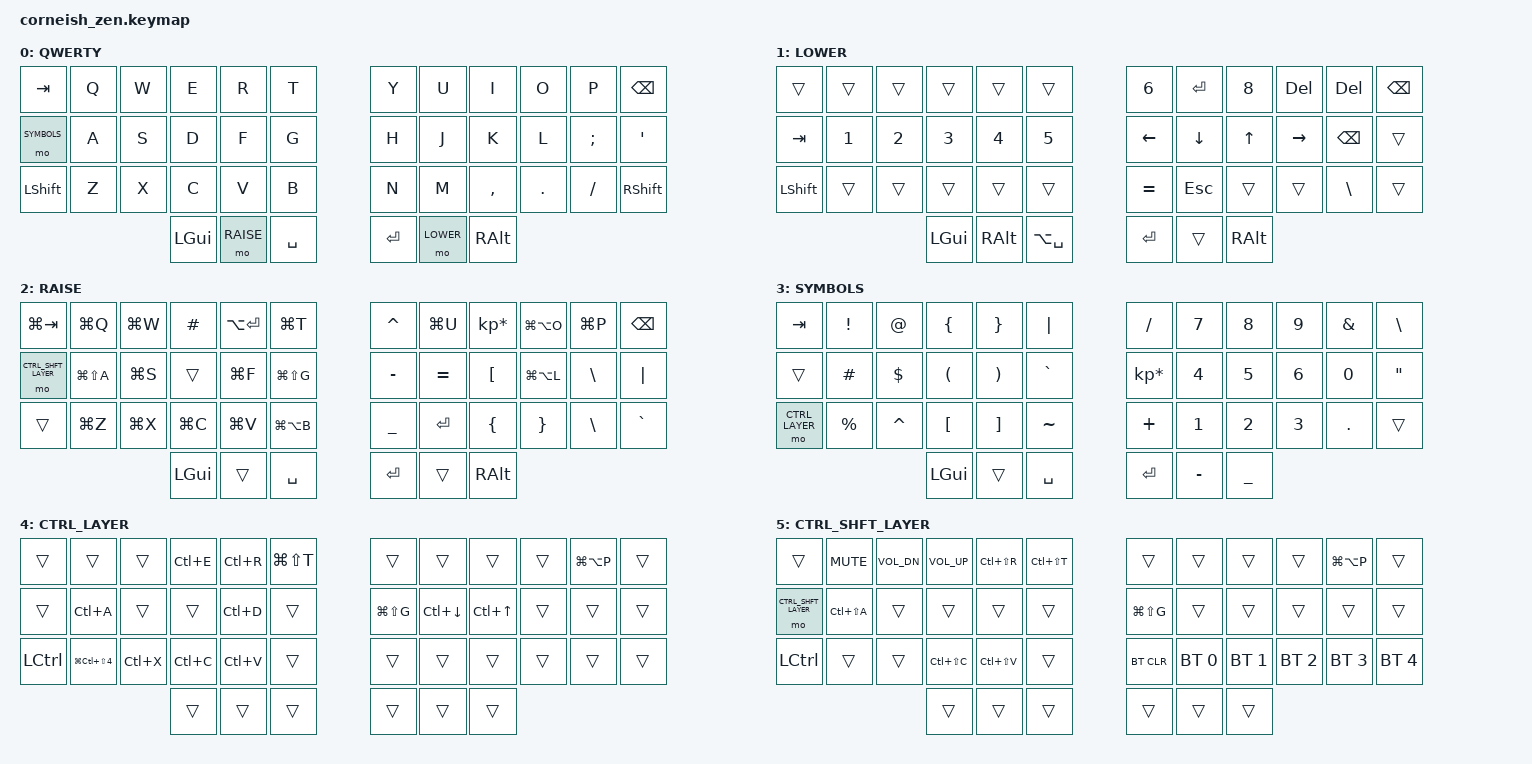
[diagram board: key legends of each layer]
#include <behaviors.dtsi>
#include <dt-bindings/zmk/keys.h>
#include <dt-bindings/zmk/bt.h>

/ {
  chosen {
    zmk,matrix_transform = &default_transform;
    //zmk,matrix_transform = &five_column_transform;
  };
};

#define BASE 0
#define LOWER 1
#define RAISE 2
#define SYMBOLS 3
#define CTRL_LAYER 4
#define CTRL_SHFT_LAYER 5

/ {
        keymap {
                compatible = "zmk,keymap";

                default_layer {
                        label = "QWERTY";
// -----------------------------------------------------------------------------------------
// |  TAB    |  Q  |  W  |  E  |  R  |  T  |   |  Y  |  U   |  I  |  O  |  P  | BKSP  |
// | SYMBOLS |  A  |  S  |  D  |  F  |  G  |   |  H  |  J   |  K  |  L  |  ;  |  '    |
// | SHFT    |  Z  |  X  |  C  |  V  |  B  |   |  N  |  M   |  ,  |  .  |  /  | RSHFT |
//                       | GUI | RSE | SPC |   | ENT | LWR  | ALT |
                        bindings = <
   &kp TAB     &kp Q &kp W &kp E &kp R &kp T   &kp Y &kp U  &kp I     &kp O   &kp P    &kp BSPC
   &mo SYMBOLS &kp A &kp S &kp D &kp F &kp G   &kp H &kp J  &kp K     &kp L   &kp SEMI &kp SQT
   &kp LSHFT   &kp Z &kp X &kp C &kp V &kp B   &kp N &kp M  &kp COMMA &kp DOT &kp FSLH &kp RSHFT
                &kp LGUI &mo RAISE &kp SPACE   &kp RET &mo LOWER &kp RALT
                        >;
                };

                lower_layer {
                        label = "LOWER";
// -----------------------------------------------------------------------------------------
// |       |       |       |     |     |     |   |  6  | ENT |  8  | DEL |  DEL | BKSP |
// |  TAB  |   1   |   2   |  3  |  4  |  5  |   | LFT | DWN |  UP | RGT | BKSP |      |
// | SHFT  |       |       |     |     |     |   |  =  | ESC |     |     |  \   |      |
//                    | GUI | ALT | ALT + SPC |   | ENT |     | ALT |
                        bindings = <
   &trans     &trans   &trans  &trans  &trans  &trans         &kp N6      &kp RET    &kp N8   &kp DEL     &kp DEL    &kp BSPC
   &kp TAB    &kp N1   &kp N2  &kp N3  &kp N4  &kp N5         &kp LEFT    &kp DOWN   &kp UP   &kp RIGHT   &kp BSPC   &trans
   &kp LSHFT  &trans   &trans  &trans  &trans  &trans         &kp EQUAL   &kp ESC    &trans   &trans      &kp BSLH   &trans
            &kp LGUI     &kp RALT    &kp LA(SPACE)               &kp RET   &trans   &kp RALT
                        >;
                };

                raise_layer {
                        label = "RAISE";
// -----------------------------------------------------------------------------------------
// | GUI_TAB         |  GUI_Q        |  GUI_W  |  #    |  ALT_ENT |  GUI_T     |   |  ^  |  GUI_U |  *  |   GUI_ALT_O |  GUI_P  | BKSP |
// | CTRL_SHFT_LAYER |  GUI_SHFT_A   |  GUI_S  |       |  GUI_F   |  GUI_SFT_G |   |  -  |  =     |  [  |  GUI_ALT_L  |      \  | "|"  |
// |                 |  GUI_Z        |  GUI_X  | GUI_C |  GUI_V   |  GUI_ALT_B |   |  _  |  ENT   |  {  |     }       |      \  |  `   |
//                            | GUI   |         | SPC     |   | ENT |      | ALT |
                        bindings = <
   &kp  LG(TAB)         &kp LG(Q)      &kp LG(W) &kp HASH  &kp LA(RET) &kp LG(T)       &kp CARET &kp LG(U)  &kp KP_MULTIPLY &kp LG(LA(O))  &kp LG(P) &kp BSPC
   &mo CTRL_SHFT_LAYER  &kp LG(LS(A))  &kp LG(S) &trans    &kp LG(F)   &kp LG(LS(G))   &kp MINUS &kp EQUAL  &kp LBKT        &kp LG(LA(L))  &kp BSLH      &kp PIPE
   &trans               &kp LG(Z)      &kp LG(X) &kp LG(C) &kp LG(V)   &kp LG(LA(B))   &kp UNDER &kp RET    &kp LBRC        &kp RBRC       &kp BSLH      &kp GRAVE
                    	     &kp LGUI &trans   &kp SPACE   &kp RET   &trans    &kp RALT
                        >;
                };

		symbols_layer {
					label = "SYMBOLS";
		// -----------------------------------------------------------------------------------------
		// |  TAB       |  !  |  @  |  {  |  }  |  |  |   |  /  |  7  |  8  |  9  |  &  |   \  |
		// |            |  #  |  $  |  (  |  )  |  `  |   |  *  |  4  |  5  |  6  |  0  |   "  |
		// | CTRL_LAYER |  %  |  ^  |  [  |  ]  |  ~  |   |  +  |  1  |  2  |  3  |  .  |      |
		//                    | GUI |     | SPC |   |     |  _  |  -  |
					bindings = <
		   &kp TAB         &kp EXCL  &kp AT    &kp LBRC &kp RBRC &kp PIPE           &kp FSLH        &kp N7   &kp N8   &kp N9 &kp AMPS &kp BSLH
		   &trans          &kp HASH  &kp DLLR  &kp LPAR &kp RPAR &kp GRAVE          &kp KP_MULTIPLY &kp N4   &kp N5   &kp N6 &kp N0   &kp DQT
		   &mo CTRL_LAYER  &kp PRCNT &kp CARET &kp LBKT &kp RBKT &kp TILDE          &kp PLUS        &kp N1   &kp N2   &kp N3 &kp DOT  &trans
				               &kp LGUI     &trans       &kp SPACE               &kp RET  &kp MINUS &kp UNDER  
					>;
				};

                ctrl_layer {
                        label = "CTRL_LAYER";
// -----------------------------------------------------------------------------------------
// |       |        |          | CTRL_E |  CTRL_R |  CMD_SHFT_T |          |     |           |            |     | GUI_ALT_P |      |
// |       | CTRL_A |          | CTRL_D |         |  CMD_SHFT_G |          |     | CTRL_DOWN |  CTRL_UP   |     |           |      |
// | CTRL  |        | CTRL_X   | CTRL_C |  GUI_V  |             |          |     |           |            |     |           |      |
//                      |     |      |      |               |     |      |     |
                        bindings = <
   &trans     &trans                &trans     &kp LC(E)  &kp LC(R)  &kp LG(LS(T))          &trans          &trans       &trans     &trans &kp LG(LA(P)) &trans
   &trans     &kp LC(A)             &trans     &trans     &kp LC(D)  &trans                 &kp LG(LS(G))   &kp LC(DOWN) &kp LC(UP) &trans &trans        &trans
   &kp LCTRL  &kp LG(LC(LS(N4)))    &kp LC(X)  &kp LC(C)  &kp LC(V)  &trans                 &trans          &trans       &trans     &trans &trans        &trans
                    	     &trans &trans   &trans               &trans   &trans    &trans
                        >;
                };

                ctrl_shft_layer {
                        label = "CTRL_SHFT_LAYER";
// -----------------------------------------------------------------------------------------
// |                 | MUTE        | VOL_DOWN | VOL_UP      |  CTRL_SHFT_R |  CTRL_SHFT_T |          |       |       |       |     | GUI_ALT_P |      |
// | CTRL_SHFT_LAYER | CTRL_SHFT_A |          |             |              |  CTRL_SHFT_G |          |       |       |       |     |           |      |
// | CTRL            |             |          | CTRL_SHFT_C |  GUI_SHFT_V  |              |          | BTCLR |  BT1  |  BT2  | BT3 | BT4       | BT5 |
//                                            |     |      |      |               |     |      |     |
                        bindings = <
   &trans                &kp C_MUTE      &kp C_VOL_DN  &kp C_VOL_UP  &kp LC(LS(R)) &kp LC(LS(T))      &trans          &trans       &trans       &trans       &kp LG(LA(P)) &trans
   &mo CTRL_SHFT_LAYER   &kp LC(LS(A))   &trans        &trans        &trans        &trans             &kp LG(LS(G))   &trans       &trans       &trans       &trans        &trans
   &kp LCTRL             &trans          &trans        &kp LC(LS(C)) &kp LC(LS(V)) &trans             &bt BT_CLR      &bt BT_SEL 0 &bt BT_SEL 1 &bt BT_SEL 2 &bt BT_SEL 3  &bt BT_SEL 4
                    	     &trans &trans   &trans               &trans   &trans    &trans
                        >;
                };
	};
};
